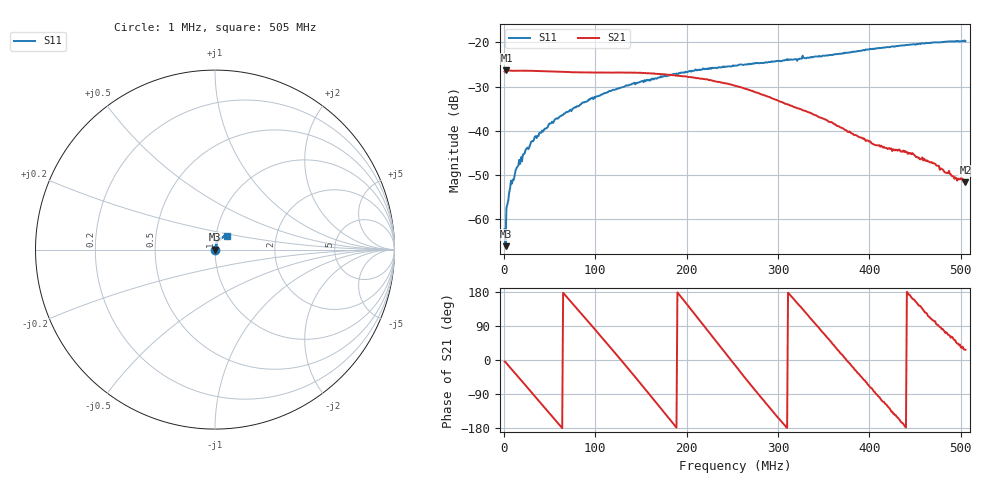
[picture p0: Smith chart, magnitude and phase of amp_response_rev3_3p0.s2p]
# HZ S RI R 50
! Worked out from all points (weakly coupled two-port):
!   505 points, 1 MHz to 505 MHz, reference 50 ohm
!   highest |S21| = -26.34 dB at 3 MHz (marker M1); lowest = -51.7 dB at 505 MHz (marker M2)
!   lowest |S11| = -66.2 dB at 2 MHz (marker M3), VSWR 1.00, Z = 50 + j0.0492 ohm
!   |S11| at or under -10 dB: start of sweep to end of sweep
!   S12 and S22 are empty: the file has one direction only
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1000000  -0.000749 0.000165  0.0465 -0.00336  0 0  0 0
2000000  -1.52e-05 0.000492  0.0479 -0.00451  0 0  0 0
3000000  3.09e-05 0.00133  0.0477 -0.00705  0 0  0 0
4000000  0.000288 0.00143  0.0472 -0.00945  0 0  0 0
5000000  0.000512 0.00154  0.0465 -0.0118  0 0  0 0
8000000  0.000263 0.00271  0.044 -0.0183  0 0  0 0
1.5e7  0.000992 0.00379  0.0355 -0.0317  0 0  0 0
2.4e7  0.00103 0.00597  0.0185 -0.044  0 0  0 0
3.3e7  0.00118 0.00777  -0.00222 -0.0474  0 0  0 0
5.1e7  0.00306 0.0116  -0.0376 -0.0279  0 0  0 0
8.5e7  0.00563 0.0194  -0.024 0.039  0 0  0 0
1.28e8  0.00838 0.0295  0.0456 0.000646  0 0  0 0
1.69e8  0.01 0.0386  -0.0214 -0.0384  0 0  0 0
1.91e8  0.0113 0.0424  -0.0417 0.00325  0 0  0 0
2.15e8  0.0122 0.0471  -0.00866 0.0379  0 0  0 0
2.53e8  0.0154 0.0523  0.0314 -0.00747  0 0  0 0
2.98e8  0.0221 0.0573  -0.0186 -0.0124  0 0  0 0
3.37e8  0.0288 0.0618  -0.00429 0.015  0 0  0 0
4.05e8  0.0467 0.0696  0.000791 -0.00691  0 0  0 0
4.21e8  0.0503 0.0724  -0.0036 -0.00516  0 0  0 0
4.47e8  0.0571 0.0755  -0.00531 0.0017  0 0  0 0
5.05e8  0.0673 0.0782  0.00231 0.00118  0 0  0 0
